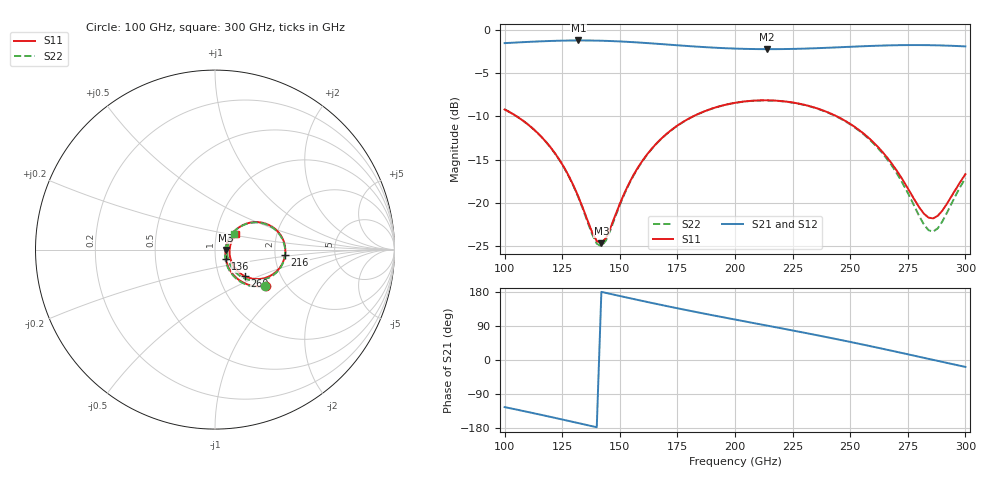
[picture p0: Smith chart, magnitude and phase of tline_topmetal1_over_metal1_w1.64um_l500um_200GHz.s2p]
#  GHZ S DB R 50
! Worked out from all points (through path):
!   101 points, 100 GHz to 300 GHz, reference 50 ohm
!   highest |S21| = -1.22 dB at 132 GHz (marker M1); lowest = -2.2 dB at 214 GHz (marker M2)
!   group delay of S21, straight-line fit = 3.47 ps
!   lowest |S11| = -24.6 dB at 142 GHz (marker M3), VSWR 1.12, Z = 56.2 - j0.176 ohm
!   |S11| at or under -10 dB: 105.3 GHz to 181.7 GHz (76.45 GHz wide, 53.3 % of centre); 244.3 GHz to end of sweep
!   |S22| runs from -25.0 to -8.1 dB; largest |S21 - S12| = 9.9e-14
!   S11 on the Smith chart (normalised r, x): 100 GHz: 1.59, -0.72; 136 GHz: 1.12, -0.12; 216 GHz: 2.27, -0.17; 260 GHz: 1.33, -0.42; 300 GHz: 1.25, +0.22
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100  -9.19 -35.3  -1.53 -124.3  -1.53 -124.3  -9.19 -35.9
118  -12.94 -50.9  -1.30 -147.6  -1.30 -147.6  -12.95 -51.9
126  -15.97 -54.2  -1.24 -158.3  -1.24 -158.3  -16.00 -55.5
132  -19.26 -50.8  -1.22 -166.5  -1.22 -166.5  -19.33 -52.4
134  -20.59 -47.0  -1.22 -169.3  -1.22 -169.3  -20.70 -48.7
136  -22.01 -40.7  -1.23 -172.0  -1.23 -172.0  -22.17 -42.6
140  -24.39 -17.6  -1.24 -177.5  -1.24 -177.5  -24.69 -19.0
142  -24.64 -1.5  -1.26 179.8  -1.26 179.8  -24.98 -2.2
156  -16.74 43.5  -1.43 160.9  -1.43 160.9  -16.80 43.5
168  -12.56 38.7  -1.64 145.3  -1.64 145.3  -12.59 38.4
184  -9.71 25.3  -1.95 125.6  -1.95 125.6  -9.73 24.6
200  -8.43 10.4  -2.16 106.8  -2.16 106.8  -8.44 9.4
214  -8.14 -2.7  -2.23 90.7  -2.23 90.7  -8.15 -4.0
216  -8.15 -4.6  -2.23 88.4  -2.23 88.4  -8.16 -5.9
234  -8.93 -21.3  -2.13 67.3  -2.13 67.3  -8.95 -23.1
248  -10.53 -33.4  -1.98 50.2  -1.98 50.2  -10.58 -35.9
260  -12.97 -41.6  -1.85 34.9  -1.85 34.9  -13.08 -45.0
268  -15.43 -43.4  -1.79 24.4  -1.79 24.4  -15.66 -47.9
282  -21.23 -19.0  -1.76 5.7  -1.76 5.7  -22.48 -23.8
286  -21.77 -0.2  -1.78 0.4  -1.78 0.4  -23.30 -1.0
290  -20.87 17.5  -1.80 -5.0  -1.80 -5.0  -22.12 20.4
300  -16.66 36.3  -1.91 -18.2  -1.91 -18.2  -17.13 39.8
